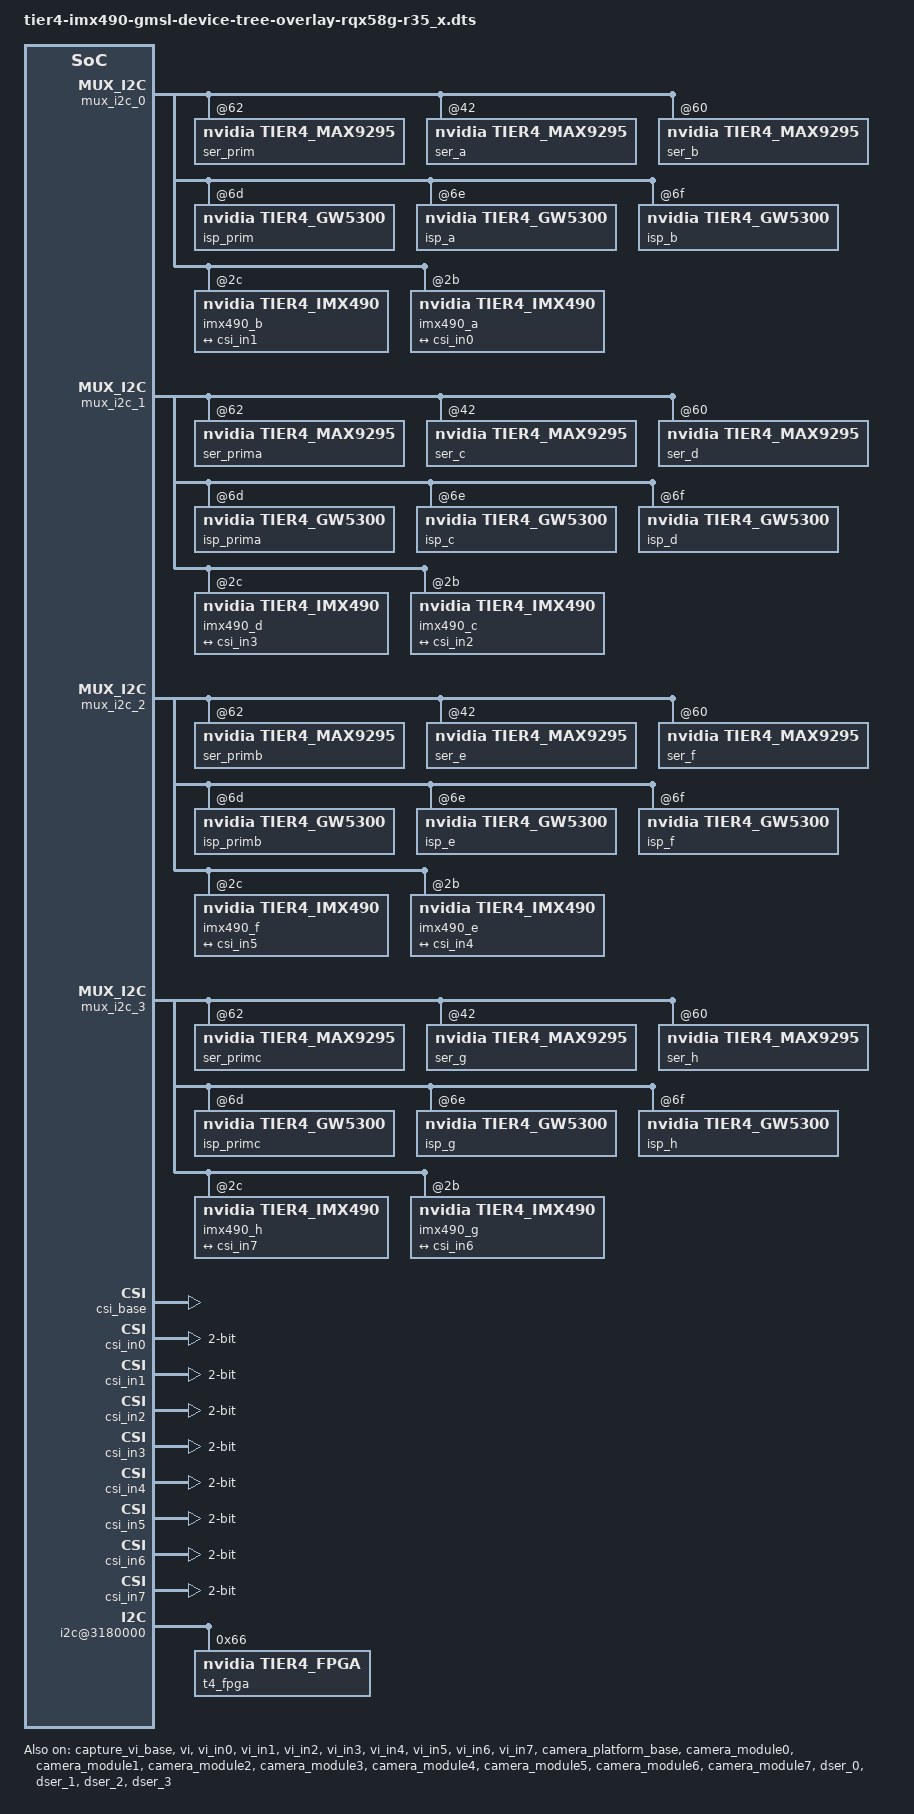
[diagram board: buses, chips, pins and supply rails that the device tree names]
/dts-v1/;
/plugin/;

/ {
    overlay-name = "TIERIV IMX490 GMSL2 Camera Device Tree Overlay";
    compatible = "nvidia,p2822-0000+p2888-0001";
    jetson-header-name = "Jetson AGX CSI Connector";

    fragment@0 {
        target = <&mux_i2c_0>;
        __overlay__ {
            i2c-mux,deselect-on-exit;
            #address-cells = <1>;
            #size-cells = <0>;

            ser_prim: max9295_prim@62 { 
                status = "okay";
                compatible = "nvidia,tier4_max9295";
                reg = <0x62>;
                is-prim-ser;
            };
            ser_a: max9295_a@42 {
                status = "okay";
                compatible = "nvidia,tier4_max9295";
                reg = <0x42>;
                nvidia,gmsl-dser-device = <&dser_0>;
                prim-parent = <&ser_prim>;
            };
            ser_b: max9295_b@60 {
                status = "okay";
                compatible = "nvidia,tier4_max9295";
                reg = <0x60>;
                nvidia,gmsl-dser-device = <&dser_0>;
                prim-parent = <&ser_prim>;
            };
            isp_prim: gw5300_prim@6d {
                compatible = "nvidia,tier4_gw5300";
                reg = <0x6d>;
                is-prim-isp;
            };
            isp_a: gw5300_a@6e {
                compatible = "nvidia,tier4_gw5300";
                reg = <0x6e>;
            };
            isp_b: gw5300_b@6f {
                compatible = "nvidia,tier4_gw5300";
                reg = <0x6f>;
            };

            imx490_b@2c {
                status = "okay";
                def-addr = <0x1a>;
                /* Define any required hw resources needed by driver */
                /* ie. clocks, io pins, power sources */
            //  clocks = <&bpmp_clks TEGRA194_CLK_EXTPERIPH1>,
            //           <&bpmp_clks TEGRA194_CLK_EXTPERIPH1>;
                clock-names = "extperiph1", "pllp_grtba";
                mclk = "extperiph1";
                nvidia,gmsl-ser-device = <&isp_b>;
                nvidia,gmsl-dser-device = <&dser_0>;
                nvidia,fpga-device  = <&t4_fpga>;

                compatible = "nvidia,tier4_imx490";

                reg = <0x2c>;

                /* Physical dimensions of sensor */
                physical_w = "15.0";
                physical_h = "12.5";
                reg_mux = <0>;
                sensor_model ="imx490";

                fsync-mode = "false";

                distortion-correction = "false";

                auto-exposure = "true";

                /* Defines number of frames to be dropped by driver internally after applying */
                /* sensor crop settings. Some sensors send corrupt frames after applying */
                /* crop co-ordinates */
                post_crop_frame_drop = "0";

                /* Convert Gain to unit of dB (decibel) befor passing to kernel driver */
                use_decibel_gain = "true";

                /* enable CID_SENSOR_MODE_ID for sensor modes selection */
                use_sensor_mode_id = "true";

                /**
                * A modeX node is required to support v4l2 driver
                * implementation with NVIDIA camera software stack
                *
                * mclk_khz = "";
                * Standard MIPI driving clock, typically 24MHz
                *
                * num_lanes = "";
                * Number of lane channels sensor is programmed to output
                *
                * tegra_sinterface = "";
                * The base tegra serial interface lanes are connected to
                *
                * vc_id = "";
                * The virtual channel id of the sensor.
                *
                * discontinuous_clk = "";
                * The sensor is programmed to use a discontinuous clock on MIPI lanes
                *
                * dpcm_enable = "true";
                * The sensor is programmed to use a DPCM modes
                *
                * cil_settletime = "";
                * MIPI lane settle time value.
                * A "0" value attempts to autocalibrate based on mclk_khz and pix_clk_hz
                *
                * active_w = "";
                * Pixel active region width
                *
                * active_h = "";
                * Pixel active region height
                *
                * dynamic_pixel_bit_depth = "";
                * sensor dynamic bit depth for sensor mode
                *
                * csi_pixel_bit_depth = "";
                * sensor output bit depth for sensor mode
                *
                * mode_type="";
                * Sensor mode type, For eg: yuv, Rgb, bayer, bayer_wdr_pwl
                *
                * pixel_phase="";
                * Pixel phase for sensor mode, For eg: rggb, vyuy, rgb888
                *
                * readout_orientation = "0";
                * Based on camera module orientation.
                * Only change readout_orientation if you specifically
                * Program a different readout order for this mode
                *
                * line_length = "";
                * Pixel line length (width) for sensor mode.
                * This is used to calibrate features in our camera stack.
                *
                * pix_clk_hz = "";
                * Sensor pixel clock used for calculations like exposure and framerate
                *
                *
                *
                *
                * inherent_gain = "";
                * Gain obtained inherently from mode (ie. pixel binning)
                *
                * min_gain_val = ""; (floor to 6 decimal places)
                * max_gain_val = ""; (floor to 6 decimal places)
                * Gain limits for mode
                * if use_decibel_gain = "true", please set the gain as decibel
                *
                * min_exp_time = ""; (ceil to integer)
                * max_exp_time = ""; (ceil to integer)
                * Exposure Time limits for mode (us)
                *
                *
                * min_hdr_ratio = "";
                * max_hdr_ratio = "";
                * HDR Ratio limits for mode
                *
                * min_framerate = "";
                * max_framerate = "";
                * Framerate limits for mode (fps)
                *
                * embedded_metadata_height = "";
                * Sensor embedded metadata height in units of rows.
                * If sensor does not support embedded metadata value should be 0.
                */
                mode0 {/*mode IMX490_MODE_2880X1860_CROP_30FPS*/
                    mclk_khz = "24000";
                    num_lanes = "2";
                    tegra_sinterface = "serial_a";
                    vc_id = "1";

                    discontinuous_clk = "no";
                    dpcm_enable = "false";
                    cil_settletime = "0";
                    dynamic_pixel_bit_depth = "16";
                    csi_pixel_bit_depth = "16";
                    mode_type = "yuv";
                    pixel_phase = "uyvy";

                    active_w = "2880";
                    active_h = "1860";
                    readout_orientation = "0";
                    line_length = "2250";
                    inherent_gain = "1";

                    pix_clk_hz = "160704000";
                    // MIPI CSI clock needs to be 1.5GHz to support deskew
                    // MIPI CSI output data rate = 1.5Gbps = (sensor or deserializer pixel clock in hertz) * (bits per pixel) / (number of CSI lanes)
                    // 1500000000 = serdes_pix_clk_hz * csi_pixel_bit_depth / num_lanes
                    // => serdes_pix_clk_hz = 1500000000 * num_lanes / csi_pixel_bit_depth
                    serdes_pix_clk_hz = "187500000";

                    gain_factor = "5";
                    min_gain_val = "0";                         /* dB */
                    max_gain_val = "300";                       /* dB */
                    step_gain_val = "1";                        /* 0.3 */
                    default_gain = "0";
                    min_hdr_ratio = "1";
                    max_hdr_ratio = "1";
                    framerate_factor = "1000000";
                    min_framerate = "0";
                    max_framerate = "40954095";
                    step_framerate = "1";
                    default_framerate = "0";
                    exposure_factor = "1000000";
                    min_exp_time = "0";                         /* us 1 line */
                    max_exp_time = "40954095";
                    step_exp_time = "1";
                    default_exp_time = "0";                 /* us */
                    embedded_metadata_height = "0";
                };

                ports {
                    #address-cells = <1>;
                    #size-cells = <0>;
                    port@0 {
                        reg = <0>;
                        imx490_out1: endpoint {
                            vc-id = <1>;
                            port-index = <0>;
                            bus-width = <2>;
                            remote-endpoint = <&csi_in1>;
                        };
                    };
                };

                gmsl-link {
                    src-csi-port = "b";
                    dst-csi-port = "a";
                    serdes-csi-link = "b";
                    csi-mode = "1x4";
                    st-vc = <0>;
                    vc-id = <1>;
                    num-lanes = <2>;
                    streams = "ued-u1","yuv8";
                };
            };

            imx490_a@2b {
                status = "okay";
                def-addr = <0x1a>;
                /* Define any required hw resources needed by driver */
                /* ie. clocks, io pins, power sources */
            //  clocks = <&bpmp_clks TEGRA194_CLK_EXTPERIPH1>,
            //          <&bpmp_clks TEGRA194_CLK_EXTPERIPH1>;
                clock-names = "extperiph1", "pllp_grtba";
                mclk = "extperiph1";
                nvidia,gmsl-ser-device  = <&isp_a>;
                nvidia,gmsl-dser-device = <&dser_0>;
                nvidia,fpga-device  = <&t4_fpga>;

                compatible = "nvidia,tier4_imx490";

                reg = <0x2b>;

                /* Physical dimensions of sensor */
                physical_w = "15.0";
                physical_h = "12.5";
                reg_mux = <0>;
                sensor_model ="imx490";

                fsync-mode = "false";

                distortion-correction = "false";

                auto-exposure = "true";

                /* Defines number of frames to be dropped by driver internally after applying */
                /* sensor crop settings. Some sensors send corrupt frames after applying */
                /* crop co-ordinates */
                post_crop_frame_drop = "0";

                /* Convert Gain to unit of dB (decibel) befor passing to kernel driver */
                use_decibel_gain = "true";

                /* enable CID_SENSOR_MODE_ID for sensor modes selection */
                use_sensor_mode_id = "true";

                mode0 {/*mode IMX490_MODE_2880X1860_CROP_30FPS*/
                    mclk_khz = "24000";
                    num_lanes = "2";
                    tegra_sinterface = "serial_a";
                    vc_id = "0";

                    discontinuous_clk = "no";
                    dpcm_enable = "false";
                    cil_settletime = "0";
                    dynamic_pixel_bit_depth = "16";
                    csi_pixel_bit_depth = "16";
                    mode_type = "yuv";
                    pixel_phase = "uyvy";

                    active_w = "2880";
                    active_h = "1860";
                    readout_orientation = "0";
                    line_length = "2250";
                    inherent_gain = "1";

                    pix_clk_hz = "160704000";
                    // MIPI CSI clock needs to be 1.5GHz to support deskew
                    // MIPI CSI output data rate = 1.5Gbps = (sensor or deserializer pixel clock in hertz) * (bits per pixel) / (number of CSI lanes)
                    // 1500000000 = serdes_pix_clk_hz * csi_pixel_bit_depth / num_lanes
                    // => serdes_pix_clk_hz = 1500000000 * num_lanes / csi_pixel_bit_depth
                    serdes_pix_clk_hz = "187500000";

                    gain_factor = "5";
                    min_gain_val = "0";                         /* dB */
                    max_gain_val = "300";                       /* dB */
                    step_gain_val = "1";                        /* 0.3 */
                    default_gain = "0";
                    min_hdr_ratio = "1";
                    max_hdr_ratio = "1";
                    framerate_factor = "1000000";
                    min_framerate = "0";
                    max_framerate = "40954095";
                    step_framerate = "1";
                    default_framerate = "0";
                    exposure_factor = "1000000";
                    min_exp_time = "0";                         /* us 1 line */
                    max_exp_time = "40954095";
                    step_exp_time = "1";
                    default_exp_time = "0";                 /* us */
                    embedded_metadata_height = "0";
                };
                ports {
                    #address-cells = <1>;
                    #size-cells = <0>;
                    port@0 {
                        reg = <0>;
                        imx490_out0: endpoint {
                            vc-id = <0>;
                            port-index = <0>;
                            bus-width = <2>;
                            remote-endpoint = <&csi_in0>;
                        };
                    };
                };
                gmsl-link {
                    src-csi-port = "b";     /* Port at which sensor is connected to its serializer device. */
                    dst-csi-port = "a";     /* Destination CSI port on the Jetson side, connected at deserializer. */
                    serdes-csi-link = "a";  /* GMSL link sensor/serializer connected */
                    csi-mode = "1x4";       /*  to sensor CSI mode. */
                    st-vc = <0>;            /* Sensor source default VC ID: 0 unless overridden by sensor. */
                    vc-id = <0>;            /* Destination VC ID, assigned to sensor stream by deserializer. */
                    num-lanes = <2>;        /* Number of CSI lanes used. */
                    streams = "ued-u1","yuv8"; /* Types of streams sensor is streaming. */
                };
            };
        };
    };

    fragment@1 {
      target = <&mux_i2c_1>;
      __overlay__ {
        i2c-mux,deselect-on-exit;
        #address-cells = <1>;
        #size-cells = <0>;

        ser_prima: max9295_prim@62 {
            compatible = "nvidia,tier4_max9295";
            reg = <0x62>;
            is-prim-ser;
        };
        ser_c: max9295_a@42 {
            compatible = "nvidia,tier4_max9295";
            reg = <0x42>;
            nvidia,gmsl-dser-device = <&dser_1>;
            prim-parent = <&ser_prima>;
        };
        ser_d: max9295_b@60 {
            compatible = "nvidia,tier4_max9295";
            reg = <0x60>;
            nvidia,gmsl-dser-device = <&dser_1>;
            prim-parent = <&ser_prima>;
        };
        isp_prima: gw5300_prim@6d {
            compatible = "nvidia,tier4_gw5300";
            reg = <0x6d>;
            is-prim-isp;
        };
        isp_c: gw5300_a@6e {
            compatible = "nvidia,tier4_gw5300";
            reg = <0x6e>;
        };
        isp_d: gw5300_b@6f {
            compatible = "nvidia,tier4_gw5300";
            reg = <0x6f>;
        };

        imx490_d@2c {
            status = "okay";
            def-addr = <0x1a>;
            /* Define any required hw resources needed by driver */
            /* ie. clocks, io pins, power sources */
        //  clocks = <&bpmp_clks TEGRA194_CLK_EXTPERIPH1>,
        //          <&bpmp_clks TEGRA194_CLK_EXTPERIPH1>;
            clock-names = "extperiph1", "pllp_grtba";
            mclk = "extperiph1";

            nvidia,gmsl-ser-device = <&isp_d>;
            nvidia,gmsl-dser-device = <&dser_1>;
            nvidia,fpga-device  = <&t4_fpga>;

            compatible = "nvidia,tier4_imx490";

            reg = <0x2c>;

            /* Physical dimensions of sensor */
            physical_w = "15.0";
            physical_h = "12.5";
            reg_mux = <1>;
            sensor_model ="imx490";

            fsync-mode = "false";

            distortion-correction = "false";

            auto-exposure = "true";

            /* Defines number of frames to be dropped by driver internally after applying */
            /* sensor crop settings. Some sensors send corrupt frames after applying */
            /* crop co-ordinates */
            post_crop_frame_drop = "0";

            /* Convert Gain to unit of dB (decibel) befor passing to kernel driver */
            use_decibel_gain = "true";

            /* enable CID_SENSOR_MODE_ID for sensor modes selection */
            use_sensor_mode_id = "true";

            /**
            * A modeX node is required to support v4l2 driver
            * implementation with NVIDIA camera software stack
            *
            * mclk_khz = "";
            * Standard MIPI driving clock, typically 24MHz
            *
            * num_lanes = "";
            * Number of lane channels sensor is programmed to output
            *
            * tegra_sinterface = "";
            * The base tegra serial interface lanes are connected to
            *
            * vc_id = "";
            * The virtual channel id of the sensor.
            *
            * discontinuous_clk = "";
            * The sensor is programmed to use a discontinuous clock on MIPI lanes
            *
            * dpcm_enable = "true";
            * The sensor is programmed to use a DPCM modes
            *
            * cil_settletime = "";
            * MIPI lane settle time value.
            * A "0" value attempts to autocalibrate based on mclk_khz and pix_clk_hz
            *
            * active_w = "";
            * Pixel active region width
            *
            * active_h = "";
            * Pixel active region height
            *
            * dynamic_pixel_bit_depth = "";
            * sensor dynamic bit depth for sensor mode
            *
            * csi_pixel_bit_depth = "";
            * sensor output bit depth for sensor mode
            *
            * mode_type="";
            * Sensor mode type, For eg: yuv, Rgb, bayer, bayer_wdr_pwl
            *
            * pixel_phase="";
            * Pixel phase for sensor mode, For eg: rggb, vyuy, rgb888
            *
            * readout_orientation = "0";
            * Based on camera module orientation.
            * Only change readout_orientation if you specifically
            * Program a different readout order for this mode
            *
            * line_length = "";
            * Pixel line length (width) for sensor mode.
            * This is used to calibrate features in our camera stack.
            *
            * pix_clk_hz = "";
            * Sensor pixel clock used for calculations like exposure and framerate
            *
            *
            *
            *
            * inherent_gain = "";
            * Gain obtained inherently from mode (ie. pixel binning)
            *
            * min_gain_val = ""; (floor to 6 decimal places)
            * max_gain_val = ""; (floor to 6 decimal places)
            * Gain limits for mode
            * if use_decibel_gain = "true", please set the gain as decibel
            *
            * min_exp_time = ""; (ceil to integer)
            * max_exp_time = ""; (ceil to integer)
            * Exposure Time limits for mode (us)
            *
            *
            * min_hdr_ratio = "";
            * max_hdr_ratio = "";
            * HDR Ratio limits for mode
            *
            * min_framerate = "";
            * max_framerate = "";
            * Framerate limits for mode (fps)
            *
            * embedded_metadata_height = "";
            * Sensor embedded metadata height in units of rows.
            * If sensor does not support embedded metadata value should be 0.
            */
            mode0 {/*mode IMX490_MODE_2880X1860_CROP_30FPS*/
                mclk_khz = "24000";
                num_lanes = "2";
                tegra_sinterface = "serial_c";
                vc_id = "1";

                discontinuous_clk = "no";
                dpcm_enable = "false";
                cil_settletime = "0";
                dynamic_pixel_bit_depth = "16";
                csi_pixel_bit_depth = "16";
                mode_type = "yuv";
                pixel_phase = "uyvy";
                active_w = "2880";
                active_h = "1860";
                readout_orientation = "0";
                line_length = "2250";
                inherent_gain = "1";

                pix_clk_hz = "160704000";
                // MIPI CSI clock needs to be 1.5GHz to support deskew
                // MIPI CSI output data rate = 1.5Gbps = (sensor or deserializer pixel clock in hertz) * (bits per pixel) / (number of CSI lanes)
                // 1500000000 = serdes_pix_clk_hz * csi_pixel_bit_depth / num_lanes
                // => serdes_pix_clk_hz = 1500000000 * num_lanes / csi_pixel_bit_depth
                serdes_pix_clk_hz = "187500000";

                gain_factor = "5";
                min_gain_val = "0";                         /* dB */
                max_gain_val = "300";                       /* dB */
                step_gain_val = "1";                        /* 0.3 */
                default_gain = "0";
                min_hdr_ratio = "1";
                max_hdr_ratio = "1";
                framerate_factor = "1000000";
                min_framerate = "0";
                max_framerate = "40954095";
                step_framerate = "1";
                default_framerate = "0";
                exposure_factor = "1000000";
                min_exp_time = "0";                         /* us 1 line */
                max_exp_time = "40954095";
                step_exp_time = "1";
                default_exp_time = "0";                 /* us */
                embedded_metadata_height = "0";
            };

            ports {
                #address-cells = <1>;
                #size-cells = <0>;
                port@0 {
                    reg = <0>;
                    imx490_out3: endpoint {
                        vc-id = <1>;
                        port-index = <2>;
                        bus-width = <2>;
                        remote-endpoint = <&csi_in3>;
                    };
                };
            };
            gmsl-link {
                src-csi-port = "b";
                dst-csi-port = "a";
                serdes-csi-link = "b";
                csi-mode = "1x4";
                st-vc = <0>;
                vc-id = <1>;
                num-lanes = <2>;
                streams = "ued-u1","yuv8";
            };
        };

        imx490_c@2b {
            status = "okay";
            def-addr = <0x1a>;

            /* Define any required hw resources needed by driver */
            /* ie. clocks, io pins, power sources */
        //  clocks = <&bpmp_clks TEGRA194_CLK_EXTPERIPH1>,
        //          <&bpmp_clks TEGRA194_CLK_EXTPERIPH1>;
            clock-names = "extperiph1", "pllp_grtba";
            mclk = "extperiph1";

            nvidia,gmsl-ser-device = <&isp_c>;
            nvidia,gmsl-dser-device = <&dser_1>;
            nvidia,fpga-device  = <&t4_fpga>;

            compatible = "nvidia,tier4_imx490";

            reg = <0x2b>;

            /* Physical dimensions of sensor */
            physical_w = "15.0";
            physical_h = "12.5";
            reg_mux = <1>;
            sensor_model ="imx490";

            fsync-mode = "false";

            distortion-correction = "false";

            auto-exposure = "true";

            /* Defines number of frames to be dropped by driver internally after applying */
            /* sensor crop settings. Some sensors send corrupt frames after applying */
            /* crop co-ordinates */
            post_crop_frame_drop = "0";

            /* Convert Gain to unit of dB (decibel) befor passing to kernel driver */
            use_decibel_gain = "true";

            /* enable CID_SENSOR_MODE_ID for sensor modes selection */
            use_sensor_mode_id = "true";

            /**
            * A modeX node is required to support v4l2 driver
            * implementation with NVIDIA camera software stack
            *
            * mclk_khz = "";
            * Standard MIPI driving clock, typically 24MHz
            *
            * num_lanes = "";
            * Number of lane channels sensor is programmed to output
            *
            * tegra_sinterface = "";
            * The base tegra serial interface lanes are connected to
            *
            * vc_id = "";
            * The virtual channel id of the sensor.
            *
            * discontinuous_clk = "";
            * The sensor is programmed to use a discontinuous clock on MIPI lanes
            *
            * dpcm_enable = "true";
            * The sensor is programmed to use a DPCM modes
            *
            * cil_settletime = "";
            * MIPI lane settle time value.
            * A "0" value attempts to autocalibrate based on mclk_khz and pix_clk_hz
            *
            * active_w = "";
            * Pixel active region width
            *
            * active_h = "";
            * Pixel active region height
            *
            * dynamic_pixel_bit_depth = "";
            * sensor dynamic bit depth for sensor mode
            *
            * csi_pixel_bit_depth = "";
            * sensor output bit depth for sensor mode
            *
            * mode_type="";
            * Sensor mode type, For eg: yuv, Rgb, bayer, bayer_wdr_pwl
            *
            * pixel_phase="";
            * Pixel phase for sensor mode, For eg: rggb, vyuy, rgb888
            *
            * readout_orientation = "0";
            * Based on camera module orientation.
            * Only change readout_orientation if you specifically
            * Program a different readout order for this mode
            *
            * line_length = "";
            * Pixel line length (width) for sensor mode.
            * This is used to calibrate features in our camera stack.
            *
            * pix_clk_hz = "";
            * Sensor pixel clock used for calculations like exposure and framerate
            *
            *
            *
            *
            * inherent_gain = "";
            * Gain obtained inherently from mode (ie. pixel binning)
            *
            * min_gain_val = ""; (floor to 6 decimal places)
            * max_gain_val = ""; (floor to 6 decimal places)
            * Gain limits for mode
            * if use_decibel_gain = "true", please set the gain as decibel
            *
            * min_exp_time = ""; (ceil to integer)
            * max_exp_time = ""; (ceil to integer)
            * Exposure Time limits for mode (us)
            *
            *
            * min_hdr_ratio = "";
            * max_hdr_ratio = "";
            * HDR Ratio limits for mode
            *
            * min_framerate = "";
            * max_framerate = "";
            * Framerate limits for mode (fps)
            *
            * embedded_metadata_height = "";
            * Sensor embedded metadata height in units of rows.
            * If sensor does not support embedded metadata value should be 0.
            */
            mode0 {/*mode IMX490_MODE_2880X1860_CROP_30FPS*/
                mclk_khz = "24000";
                num_lanes = "2";
                tegra_sinterface = "serial_c";
                vc_id = "0";

                discontinuous_clk = "no";
                dpcm_enable = "false";
                cil_settletime = "0";
                dynamic_pixel_bit_depth = "16";
                csi_pixel_bit_depth = "16";
                mode_type = "yuv";
                pixel_phase = "uyvy";
                active_w = "2880";
                active_h = "1860";
                readout_orientation = "0";
                line_length = "2250";
                inherent_gain = "1";

                pix_clk_hz = "160704000";
                // MIPI CSI clock needs to be 1.5GHz to support deskew
                // MIPI CSI output data rate = 1.5Gbps = (sensor or deserializer pixel clock in hertz) * (bits per pixel) / (number of CSI lanes)
                // 1500000000 = serdes_pix_clk_hz * csi_pixel_bit_depth / num_lanes
                // => serdes_pix_clk_hz = 1500000000 * num_lanes / csi_pixel_bit_depth
                serdes_pix_clk_hz = "187500000";

                gain_factor = "5";
                min_gain_val = "0";                         /* dB */
                max_gain_val = "300";                       /* dB */
                step_gain_val = "1";                        /* 0.3 */
                default_gain = "0";
                min_hdr_ratio = "1";
                max_hdr_ratio = "1";
                framerate_factor = "1000000";
                min_framerate = "0";
                max_framerate = "40954095";
                step_framerate = "1";
                default_framerate = "0";
                exposure_factor = "1000000";
                min_exp_time = "0";                         /* us 1 line */
                max_exp_time = "40954095";
                step_exp_time = "1";
                default_exp_time = "0";                 /* us */
                embedded_metadata_height = "0";
            };

            ports {
                #address-cells = <1>;
                #size-cells = <0>;
                port@0 {
                    reg = <0>;
                    imx490_out2: endpoint {
                        vc-id = <0>;
                        port-index = <2>;
                        bus-width = <2>;
                        remote-endpoint = <&csi_in2>;
                    };
                };
            };
            gmsl-link {
                src-csi-port = "b";             /* Port at which sensor  is connected to its serializer device. */
                dst-csi-port = "a";             /* Destination CSI port on the Jetson side, connected at deserializer. */
                serdes-csi-link = "a";          /* GMSL link sensor/serializer connected */
                csi-mode = "1x4";               /*  to sensor CSI mode. */
                st-vc = <0>;                    /* Sensor source default VC ID: 0 unless overridden by sensor. */
                vc-id = <0>;                    /* Destination VC ID, assigned to sensor stream by deserializer. */
                num-lanes = <2>;                /* Number of CSI lanes used. */
                streams = "ued-u1","yuv8";      /* Types of streams sensor is streaming. */
            };
        };
      };
    };

    fragment@2 {
      target = <&mux_i2c_2>;
      __overlay__ {
        i2c-mux,deselect-on-exit;
        #address-cells = <1>;
        #size-cells = <0>;

        ser_primb: max9295_prim@62 {
            compatible = "nvidia,tier4_max9295";
            reg = <0x62>;
            is-prim-ser;
        };
        ser_e: max9295_a@42 {
            compatible = "nvidia,tier4_max9295";
            reg = <0x42>;
            nvidia,gmsl-dser-device = <&dser_2>;
            prim-parent = <&ser_primb>;
        };
        ser_f: max9295_b@60 {
            compatible = "nvidia,tier4_max9295";
            reg = <0x60>;
            nvidia,gmsl-dser-device = <&dser_2>;
            prim-parent = <&ser_primb>;
        };
        isp_primb: gw5300_prim@6d {
            compatible = "nvidia,tier4_gw5300";
            reg = <0x6d>;
            is-prim-isp;
        };
        isp_e: gw5300_a@6e {
            compatible = "nvidia,tier4_gw5300";
            reg = <0x6e>;
        };
        isp_f: gw5300_b@6f {
            compatible = "nvidia,tier4_gw5300";
            reg = <0x6f>;
        };

        imx490_f@2c {
            status = "okay";
            def-addr = <0x1a>;

            /* Define any required hw resources needed by driver */
            /* ie. clocks, io pins, power sources */
        //  clocks = <&bpmp_clks TEGRA194_CLK_EXTPERIPH1>,
        //          <&bpmp_clks TEGRA194_CLK_EXTPERIPH1>;
            clock-names = "extperiph1", "pllp_grtba";
            mclk = "extperiph1";

            nvidia,gmsl-ser-device = <&isp_f>;
            nvidia,gmsl-dser-device = <&dser_2>;
            nvidia,fpga-device  = <&t4_fpga>;

            compatible = "nvidia,tier4_imx490";

            reg = <0x2c>;

            /* Physical dimensions of sensor */
            physical_w = "15.0";
            physical_h = "12.5";
            reg_mux = <2>;
            sensor_model ="imx490";

            fsync-mode = "false";

            distortion-correction = "false";

            auto-exposure = "true";

            /* Defines number of frames to be dropped by driver internally after applying */
            /* sensor crop settings. Some sensors send corrupt frames after applying */
            /* crop co-ordinates */
            post_crop_frame_drop = "0";

            /* Convert Gain to unit of dB (decibel) befor passing to kernel driver */
            use_decibel_gain = "true";

            /* enable CID_SENSOR_MODE_ID for sensor modes selection */
            use_sensor_mode_id = "true";

            /**
            * A modeX node is required to support v4l2 driver
            * implementation with NVIDIA camera software stack
            *
            * mclk_khz = "";
            * Standard MIPI driving clock, typically 24MHz
            *
            * num_lanes = "";
            * Number of lane channels sensor is programmed to output
            *
            * tegra_sinterface = "";
            * The base tegra serial interface lanes are connected to
            *
            * vc_id = "";
            * The virtual channel id of the sensor.
            *
            * discontinuous_clk = "";
            * The sensor is programmed to use a discontinuous clock on MIPI lanes
            *
            * dpcm_enable = "true";
            * The sensor is programmed to use a DPCM modes
            *
            * cil_settletime = "";
            * MIPI lane settle time value.
            * A "0" value attempts to autocalibrate based on mclk_khz and pix_clk_hz
            *
            * active_w = "";
            * Pixel active region width
            *
            * active_h = "";
            * Pixel active region height
            *
            * dynamic_pixel_bit_depth = "";
            * sensor dynamic bit depth for sensor mode
            *
            * csi_pixel_bit_depth = "";
            * sensor output bit depth for sensor mode
            *
            * mode_type="";
            * Sensor mode type, For eg: yuv, Rgb, bayer, bayer_wdr_pwl
            *
            * pixel_phase="";
            * Pixel phase for sensor mode, For eg: rggb, vyuy, rgb888
            *
            * readout_orientation = "0";
            * Based on camera module orientation.
            * Only change readout_orientation if you specifically
            * Program a different readout order for this mode
            *
            * line_length = "";
            * Pixel line length (width) for sensor mode.
            * This is used to calibrate features in our camera stack.
            *
            * pix_clk_hz = "";
            * Sensor pixel clock used for calculations like exposure and framerate
            *
            *
            *
            *
            * inherent_gain = "";
            * Gain obtained inherently from mode (ie. pixel binning)
            *
            * min_gain_val = ""; (floor to 6 decimal places)
            * max_gain_val = ""; (floor to 6 decimal places)
            * Gain limits for mode
            * if use_decibel_gain = "true", please set the gain as decibel
            *
            * min_exp_time = ""; (ceil to integer)
            * max_exp_time = ""; (ceil to integer)
            * Exposure Time limits for mode (us)
            *
            *
            * min_hdr_ratio = "";
            * max_hdr_ratio = "";
            * HDR Ratio limits for mode
            *
            * min_framerate = "";
            * max_framerate = "";
            * Framerate limits for mode (fps)
            *
            * embedded_metadata_height = "";
            * Sensor embedded metadata height in units of rows.
            * If sensor does not support embedded metadata value should be 0.
            */

             mode0 {/*mode IMX490_MODE_2880X1860_CROP_30FPS*/
                     mclk_khz = "24000";
                     num_lanes = "2";
                     tegra_sinterface = "serial_e";
                     vc_id = "1";

                     discontinuous_clk = "no";
                     dpcm_enable = "false";
                     cil_settletime = "0";
                     dynamic_pixel_bit_depth = "16";
                     csi_pixel_bit_depth = "16";
                     mode_type = "yuv";
                     pixel_phase = "uyvy";
                     active_w = "2880";
                     active_h = "1860";
                     readout_orientation = "0";
                     line_length = "2250";
                     inherent_gain = "1";

                     pix_clk_hz = "160704000";
                     // MIPI CSI clock needs to be 1.5GHz to support deskew
                    // MIPI CSI output data rate = 1.5Gbps = (sensor or deserializer pixel clock in hertz) * (bits per pixel) / (number of CSI lanes)
                    // 1500000000 = serdes_pix_clk_hz * csi_pixel_bit_depth / num_lanes
                    // => serdes_pix_clk_hz = 1500000000 * num_lanes / csi_pixel_bit_depth
                    serdes_pix_clk_hz = "187500000";

                     gain_factor = "5";
                     min_gain_val = "0";                         /* dB */
                     max_gain_val = "300";                       /* dB */
                     step_gain_val = "1";                        /* 0.3 */
                     default_gain = "0";
                     min_hdr_ratio = "1";
                     max_hdr_ratio = "1";
                     framerate_factor = "1000000";
                     min_framerate = "0";
                     max_framerate = "40954095";
                     step_framerate = "1";
                     default_framerate = "0";
                     exposure_factor = "1000000";
                     min_exp_time = "0";                         /* us 1 line */
                     max_exp_time = "40954095";
                     step_exp_time = "1";
                     default_exp_time = "0";                 /* us */
                     embedded_metadata_height = "0";
                 };
            ports {
                #address-cells = <1>;
                #size-cells = <0>;
                port@0 {
                    reg = <0>;
                    imx490_out5: endpoint {
                        vc-id = <1>;
                        port-index = <4>;
                        bus-width = <2>;
                        remote-endpoint = <&csi_in5>;
                    };
                };
            };
            gmsl-link {
                src-csi-port = "b";
                dst-csi-port = "a";
                serdes-csi-link = "b";
                csi-mode = "1x4";
                st-vc = <0>;
                vc-id = <1>;
                num-lanes = <2>;
                streams = "ued-u1","yuv8";
            };
        };

        imx490_e@2b {
            status = "okay";
            def-addr = <0x1a>;

            /* Define any required hw resources needed by driver */
            /* ie. clocks, io pins, power sources */
        //  clocks = <&bpmp_clks TEGRA194_CLK_EXTPERIPH1>,
        //          <&bpmp_clks TEGRA194_CLK_EXTPERIPH1>;
            clock-names = "extperiph1", "pllp_grtba";
            mclk = "extperiph1";

            nvidia,gmsl-ser-device = <&isp_e>;
            nvidia,gmsl-dser-device = <&dser_2>;
            nvidia,fpga-device  = <&t4_fpga>;

            compatible = "nvidia,tier4_imx490";

            reg = <0x2b>;

            /* Physical dimensions of sensor */
            physical_w = "15.0";
            physical_h = "12.5";
            reg_mux = <2>;
            sensor_model ="imx490";

            fsync-mode = "false";

            distortion-correction = "false";

            auto-exposure = "true";

            /* Defines number of frames to be dropped by driver internally after applying */
            /* sensor crop settings. Some sensors send corrupt frames after applying */
            /* crop co-ordinates */
            post_crop_frame_drop = "0";

            /* Convert Gain to unit of dB (decibel) befor passing to kernel driver */
            use_decibel_gain = "true";

            /* enable CID_SENSOR_MODE_ID for sensor modes selection */
            use_sensor_mode_id = "true";

            /**
            * A modeX node is required to support v4l2 driver
            * implementation with NVIDIA camera software stack
            *
            * mclk_khz = "";
            * Standard MIPI driving clock, typically 24MHz
            *
            * num_lanes = "";
            * Number of lane channels sensor is programmed to output
            *
            * tegra_sinterface = "";
            * The base tegra serial interface lanes are connected to
            *
            * vc_id = "";
            * The virtual channel id of the sensor.
            *
            * discontinuous_clk = "";
            * The sensor is programmed to use a discontinuous clock on MIPI lanes
            *
            * dpcm_enable = "true";
            * The sensor is programmed to use a DPCM modes
            *
            * cil_settletime = "";
            * MIPI lane settle time value.
            * A "0" value attempts to autocalibrate based on mclk_khz and pix_clk_hz
            *
            * active_w = "";
            * Pixel active region width
            *
            * active_h = "";
            * Pixel active region height
            *
            * dynamic_pixel_bit_depth = "";
            * sensor dynamic bit depth for sensor mode
            *
            * csi_pixel_bit_depth = "";
            * sensor output bit depth for sensor mode
            *
            * mode_type="";
            * Sensor mode type, For eg: yuv, Rgb, bayer, bayer_wdr_pwl
            *
            * pixel_phase="";
            * Pixel phase for sensor mode, For eg: rggb, vyuy, rgb888
            *
            * readout_orientation = "0";
            * Based on camera module orientation.
            * Only change readout_orientation if you specifically
            * Program a different readout order for this mode
            *
            * line_length = "";
            * Pixel line length (width) for sensor mode.
            * This is used to calibrate features in our camera stack.
            *
            * pix_clk_hz = "";
            * Sensor pixel clock used for calculations like exposure and framerate
            *
            *
            *
            *
            * inherent_gain = "";
            * Gain obtained inherently from mode (ie. pixel binning)
            *
            * min_gain_val = ""; (floor to 6 decimal places)
            * max_gain_val = ""; (floor to 6 decimal places)
            * Gain limits for mode
            * if use_decibel_gain = "true", please set the gain as decibel
            *
            * min_exp_time = ""; (ceil to integer)
            * max_exp_time = ""; (ceil to integer)
            * Exposure Time limits for mode (us)
            *
            *
            * min_hdr_ratio = "";
            * max_hdr_ratio = "";
            * HDR Ratio limits for mode
            *
            * min_framerate = "";
            * max_framerate = "";
            * Framerate limits for mode (fps)
            *
            * embedded_metadata_height = "";
            * Sensor embedded metadata height in units of rows.
            * If sensor does not support embedded metadata value should be 0.
            */

            mode0 {/*mode IMX490_MODE_2880X1860_CROP_30FPS*/
                     mclk_khz = "24000";
                     num_lanes = "2";
                     tegra_sinterface = "serial_e";
                     vc_id = "0";
                     
                     discontinuous_clk = "no";
                     dpcm_enable = "false";
                     cil_settletime = "0";
                     dynamic_pixel_bit_depth = "16";
                     csi_pixel_bit_depth = "16";
                     mode_type = "yuv";
                     pixel_phase = "uyvy";
                     active_w = "2880";
                     active_h = "1860";
                     readout_orientation = "0";
                     line_length = "2250";
                     inherent_gain = "1";

                     pix_clk_hz = "160704000";
                     // MIPI CSI clock needs to be 1.5GHz to support deskew
                     // MIPI CSI output data rate = 1.5Gbps = (sensor or deserializer pixel clock in hertz) * (bits per pixel) / (number of CSI lanes)
                     // 1500000000 = serdes_pix_clk_hz * csi_pixel_bit_depth / num_lanes
                     // => serdes_pix_clk_hz = 1500000000 * num_lanes / csi_pixel_bit_depth
                     serdes_pix_clk_hz = "187500000";

                     gain_factor = "5";
                     min_gain_val = "0";                         /* dB */
                     max_gain_val = "300";                       /* dB */
                     step_gain_val = "1";                        /* 0.3 */
                     default_gain = "0";
                     min_hdr_ratio = "1";
                     max_hdr_ratio = "1";
                     framerate_factor = "1000000";
                     min_framerate = "0";
                     max_framerate = "40954095";
                     step_framerate = "1";
                     default_framerate = "0";
                     exposure_factor = "1000000";
                     min_exp_time = "0";                         /* us 1 line */
                     max_exp_time = "40954095";
                     step_exp_time = "1";
                     default_exp_time = "0";                 /* us */
                     embedded_metadata_height = "0";
                 };

            ports {
                #address-cells = <1>;
                #size-cells = <0>;
                port@0 {
                    reg = <0>;
                    imx490_out4: endpoint {
                        vc-id = <0>;
                        port-index = <4>;
                        bus-width = <2>;
                        remote-endpoint = <&csi_in4>;
                    };
                };
            };
            gmsl-link {
                src-csi-port = "b";
                dst-csi-port = "a";
                serdes-csi-link = "a";
                csi-mode = "1x4";
                st-vc = <0>;
                vc-id = <0>;
                num-lanes = <2>;
                streams = "ued-u1","yuv8";
            };
        };
      };
    };

    fragment@3 {
      target = <&mux_i2c_3>;
      __overlay__ {
        i2c-mux,deselect-on-exit;
        #address-cells = <1>;
        #size-cells = <0>;

        ser_primc: max9295_prim@62 {
            compatible = "nvidia,tier4_max9295";
            reg = <0x62>;
            is-prim-ser;
        };
        ser_g: max9295_a@42 {
            compatible = "nvidia,tier4_max9295";
            reg = <0x42>;
            nvidia,gmsl-dser-device = <&dser_3>;
            prim-parent = <&ser_primc>;
        };
        ser_h: max9295_b@60 {
            compatible = "nvidia,tier4_max9295";
            reg = <0x60>;
            nvidia,gmsl-dser-device = <&dser_3>;
            prim-parent = <&ser_primc>;
        };
        isp_primc: gw5300_prim@6d {
            compatible = "nvidia,tier4_gw5300";
            reg = <0x6d>;
            is-prim-isp;
        };
        isp_g: gw5300_a@6e {
            compatible = "nvidia,tier4_gw5300";
            reg = <0x6e>;
        };
        isp_h: gw5300_b@6f {
            compatible = "nvidia,tier4_gw5300";
            reg = <0x6f>;
        };

        imx490_h@2c {
            status = "okay";
            def-addr = <0x1a>;

            /* Define any required hw resources needed by driver */
            /* ie. clocks, io pins, power sources */
        //  clocks = <&bpmp_clks TEGRA194_CLK_EXTPERIPH1>,
        //          <&bpmp_clks TEGRA194_CLK_EXTPERIPH1>;
            clock-names = "extperiph1", "pllp_grtba";
            mclk = "extperiph1";

            nvidia,gmsl-ser-device = <&isp_h>;
            nvidia,gmsl-dser-device = <&dser_3>;
            nvidia,fpga-device  = <&t4_fpga>;

            compatible = "nvidia,tier4_imx490";

            reg = <0x2c>;

            /* Physical dimensions of sensor */
            physical_w = "15.0";
            physical_h = "12.5";
            reg_mux = <3>;
            sensor_model ="imx490";

            fsync-mode = "false";

            distortion-correction = "false";

            auto-exposure = "true";

            /* Defines number of frames to be dropped by driver internally after applying */
            /* sensor crop settings. Some sensors send corrupt frames after applying */
            /* crop co-ordinates */
            post_crop_frame_drop = "0";

            /* Convert Gain to unit of dB (decibel) befor passing to kernel driver */
            use_decibel_gain = "true";

            /* enable CID_SENSOR_MODE_ID for sensor modes selection */
            use_sensor_mode_id = "true";

            /**
            * A modeX node is required to support v4l2 driver
            * implementation with NVIDIA camera software stack
            *
            * mclk_khz = "";
            * Standard MIPI driving clock, typically 24MHz
            *
            * num_lanes = "";
            * Number of lane channels sensor is programmed to output
            *
            * tegra_sinterface = "";
            * The base tegra serial interface lanes are connected to
            *
            * vc_id = "";
            * The virtual channel id of the sensor.
            *
            * discontinuous_clk = "";
            * The sensor is programmed to use a discontinuous clock on MIPI lanes
            *
            * dpcm_enable = "true";
            * The sensor is programmed to use a DPCM modes
            *
            * cil_settletime = "";
            * MIPI lane settle time value.
            * A "0" value attempts to autocalibrate based on mclk_khz and pix_clk_hz
            *
            * active_w = "";
            * Pixel active region width
            *
            * active_h = "";
            * Pixel active region height
            *
            * dynamic_pixel_bit_depth = "";
            * sensor dynamic bit depth for sensor mode
            *
            * csi_pixel_bit_depth = "";
            * sensor output bit depth for sensor mode
            *
            * mode_type="";
            * Sensor mode type, For eg: yuv, Rgb, bayer, bayer_wdr_pwl
            *
            * pixel_phase="";
            * Pixel phase for sensor mode, For eg: rggb, vyuy, rgb888
            *
            * readout_orientation = "0";
            * Based on camera module orientation.
            * Only change readout_orientation if you specifically
            * Program a different readout order for this mode
            *
            * line_length = "";
            * Pixel line length (width) for sensor mode.
            * This is used to calibrate features in our camera stack.
            *
            * pix_clk_hz = "";
            * Sensor pixel clock used for calculations like exposure and framerate
            *
            *
            *
            *
            * inherent_gain = "";
            * Gain obtained inherently from mode (ie. pixel binning)
            *
            * min_gain_val = ""; (floor to 6 decimal places)
            * max_gain_val = ""; (floor to 6 decimal places)
            * Gain limits for mode
            * if use_decibel_gain = "true", please set the gain as decibel
            *
            * min_exp_time = ""; (ceil to integer)
            * max_exp_time = ""; (ceil to integer)
            * Exposure Time limits for mode (us)
            *
            *
            * min_hdr_ratio = "";
            * max_hdr_ratio = "";
            * HDR Ratio limits for mode
            *
            * min_framerate = "";
            * max_framerate = "";
            * Framerate limits for mode (fps)
            *
            * embedded_metadata_height = "";
            * Sensor embedded metadata height in units of rows.
            * If sensor does not support embedded metadata value should be 0.
            */

            mode0 {/*mode IMX490_MODE_2880X1860_CROP_30FPS*/
                mclk_khz = "24000";
                num_lanes = "2";
                tegra_sinterface = "serial_g";
                vc_id = "1";

                discontinuous_clk = "no";
                dpcm_enable = "false";
                cil_settletime = "0";
                dynamic_pixel_bit_depth = "16";
                csi_pixel_bit_depth = "16";
                mode_type = "yuv";
                pixel_phase = "uyvy";
                active_w = "2880";
                active_h = "1860";
                readout_orientation = "0";
                line_length = "2250";
                inherent_gain = "1";

                pix_clk_hz = "160704000";
                // MIPI CSI clock needs to be 1.5GHz to support deskew
                // MIPI CSI output data rate = 1.5Gbps = (sensor or deserializer pixel clock in hertz) * (bits per pixel) / (number of CSI lanes)
                // 1500000000 = serdes_pix_clk_hz * csi_pixel_bit_depth / num_lanes
                // => serdes_pix_clk_hz = 1500000000 * num_lanes / csi_pixel_bit_depth
                serdes_pix_clk_hz = "187500000";

                gain_factor = "5";
                min_gain_val = "0";                         /* dB */
                max_gain_val = "300";                       /* dB */
                step_gain_val = "1";                        /* 0.3 */
                default_gain = "0";
                min_hdr_ratio = "1";
                max_hdr_ratio = "1";
                framerate_factor = "1000000";
                min_framerate = "0";
                max_framerate = "40954095";
                step_framerate = "1";
                default_framerate = "0";
                exposure_factor = "1000000";
                min_exp_time = "0";                         /* us 1 line */
                max_exp_time = "40954095";
                step_exp_time = "1";
                default_exp_time = "0";                 /* us */
                embedded_metadata_height = "0";
            };

            ports {
                #address-cells = <1>;
                #size-cells = <0>;
                port@0 {
                    reg = <0>;
                    imx490_out7: endpoint {
                        vc-id = <1>;
                        port-index = <6>;
                        bus-width = <2>;
                        remote-endpoint = <&csi_in7>;
                    };
                };
            };
            gmsl-link {
                src-csi-port = "b";
                dst-csi-port = "a";
                serdes-csi-link = "b";
                csi-mode = "1x4";
                st-vc = <0>;
                vc-id = <1>;
                num-lanes = <2>;
                streams = "ued-u1","yuv8";
            };
        };

        imx490_g@2b {
            status = "okay";
            def-addr = <0x1a>;

            /* Define any required hw resources needed by driver */
            /* ie. clocks, io pins, power sources */
        //  clocks = <&bpmp_clks TEGRA194_CLK_EXTPERIPH1>,
        //          <&bpmp_clks TEGRA194_CLK_EXTPERIPH1>;
            clock-names = "extperiph1", "pllp_grtba";
            mclk = "extperiph1";

            nvidia,gmsl-ser-device = <&isp_g>;
            nvidia,gmsl-dser-device = <&dser_3>;
            nvidia,fpga-device  = <&t4_fpga>;

            compatible = "nvidia,tier4_imx490";

            reg = <0x2b>;

            /* Physical dimensions of sensor */
            physical_w = "15.0";
            physical_h = "12.5";
            reg_mux = <3>;
            sensor_model ="imx490";

            fsync-mode = "false";

            distortion-correction = "false";

            auto-exposure = "true";

            /* Defines number of frames to be dropped by driver internally after applying */
            /* sensor crop settings. Some sensors send corrupt frames after applying */
            /* crop co-ordinates */
            post_crop_frame_drop = "0";

            /* Convert Gain to unit of dB (decibel) befor passing to kernel driver */
            use_decibel_gain = "true";

            /* enable CID_SENSOR_MODE_ID for sensor modes selection */
            use_sensor_mode_id = "true";

            /**
            * A modeX node is required to support v4l2 driver
            * implementation with NVIDIA camera software stack
            *
            * mclk_khz = "";
            * Standard MIPI driving clock, typically 24MHz
            *
            * num_lanes = "";
            * Number of lane channels sensor is programmed to output
            *
            * tegra_sinterface = "";
            * The base tegra serial interface lanes are connected to
            *
            * vc_id = "";
            * The virtual channel id of the sensor.
            *
            * discontinuous_clk = "";
            * The sensor is programmed to use a discontinuous clock on MIPI lanes
            *
            * dpcm_enable = "true";
            * The sensor is programmed to use a DPCM modes
            *
            * cil_settletime = "";
            * MIPI lane settle time value.
            * A "0" value attempts to autocalibrate based on mclk_khz and pix_clk_hz
            *
            * active_w = "";
            * Pixel active region width
            *
            * active_h = "";
            * Pixel active region height
            *
            * dynamic_pixel_bit_depth = "";
            * sensor dynamic bit depth for sensor mode
            *
            * csi_pixel_bit_depth = "";
            * sensor output bit depth for sensor mode
            *
            * mode_type="";
            * Sensor mode type, For eg: yuv, Rgb, bayer, bayer_wdr_pwl
            *
            * pixel_phase="";
            * Pixel phase for sensor mode, For eg: rggb, vyuy, rgb888
            *
            * readout_orientation = "0";
            * Based on camera module orientation.
            * Only change readout_orientation if you specifically
            * Program a different readout order for this mode
            *
            * line_length = "";
            * Pixel line length (width) for sensor mode.
            * This is used to calibrate features in our camera stack.
            *
            * pix_clk_hz = "";
            * Sensor pixel clock used for calculations like exposure and framerate
            *
            *
            *
            *
            * inherent_gain = "";
            * Gain obtained inherently from mode (ie. pixel binning)
            *
            * min_gain_val = ""; (floor to 6 decimal places)
            * max_gain_val = ""; (floor to 6 decimal places)
            * Gain limits for mode
            * if use_decibel_gain = "true", please set the gain as decibel
            *
            * min_exp_time = ""; (ceil to integer)
            * max_exp_time = ""; (ceil to integer)
            * Exposure Time limits for mode (us)
            *
            *
            * min_hdr_ratio = "";
            * max_hdr_ratio = "";
            * HDR Ratio limits for mode
            *
            * min_framerate = "";
            * max_framerate = "";
            * Framerate limits for mode (fps)
            *
            * embedded_metadata_height = "";
            * Sensor embedded metadata height in units of rows.
            * If sensor does not support embedded metadata value should be 0.
            */

            mode0 {/*mode IMX490_MODE_2880X1860_CROP_30FPS*/
                mclk_khz = "24000";
                num_lanes = "2";
                tegra_sinterface = "serial_g";
                vc_id = "0";

                discontinuous_clk = "no";
                dpcm_enable = "false";
                cil_settletime = "0";
                dynamic_pixel_bit_depth = "16";
                csi_pixel_bit_depth = "16";
                mode_type = "yuv";
                pixel_phase = "uyvy";
                active_w = "2880";
                active_h = "1860";
                readout_orientation = "0";
                line_length = "2250";
                inherent_gain = "1";

                pix_clk_hz = "160704000";
                // MIPI CSI clock needs to be 1.5GHz to support deskew
                // MIPI CSI output data rate = 1.5Gbps = (sensor or deserializer pixel clock in hertz) * (bits per pixel) / (number of CSI lanes)
                // 1500000000 = serdes_pix_clk_hz * csi_pixel_bit_depth / num_lanes
                // => serdes_pix_clk_hz = 1500000000 * num_lanes / csi_pixel_bit_depth
                serdes_pix_clk_hz = "187500000";

                gain_factor = "5";
                min_gain_val = "0";                         /* dB */
                max_gain_val = "300";                       /* dB */
                step_gain_val = "1";                        /* 0.3 */
                default_gain = "0";
                min_hdr_ratio = "1";
                max_hdr_ratio = "1";
                framerate_factor = "1000000";
                min_framerate = "0";
                max_framerate = "40954095";
                step_framerate = "1";
                default_framerate = "0";
                exposure_factor = "1000000";
                min_exp_time = "0";                         /* us 1 line */
                max_exp_time = "40954095";
                step_exp_time = "1";
                default_exp_time = "0";                 /* us */
                embedded_metadata_height = "0";
            };

            ports {
                #address-cells = <1>;
                #size-cells = <0>;
                port@0 {
                    reg = <0>;
                    imx490_out6: endpoint {
                        vc-id = <0>;
                        port-index = <6>;
                        bus-width = <2>;
                        remote-endpoint = <&csi_in6>;
                    };
                };
            };
            gmsl-link {
                src-csi-port = "b";
                dst-csi-port = "a";
                serdes-csi-link = "a";
                csi-mode = "1x4";
                st-vc = <0>;
                vc-id = <0>;
                num-lanes = <2>;
                streams = "ued-u1","yuv8";
            };
        };
      };
    };

    /* VI settings */

    fragment@4 {
      target = <&capture_vi_base>;
      __overlay__ {
        status = "okay";
        num-channels = <8>;
      };
    };

    fragment@5 {
      target = <&vi>;
      __overlay__ {
        status = "okay";
      };
    };

    fragment@6 {
      target = <&vi_in0>;
      __overlay__ {
        status = "okay";
        vc-id = <0>;
        port-index = <0>;
        bus-width = <2>;
        remote-endpoint = <&csi_out0>;
      };
    };

    fragment@7 {
      target = <&vi_in1>;
      __overlay__ {
        status = "okay";
        vc-id = <1>;
        port-index = <0>;
        bus-width = <2>;
        remote-endpoint = <&csi_out1>;
      };
    };

    fragment@8 {
      target = <&vi_in2>;
      __overlay__ {
        status = "okay";
        vc-id = <0>;
        port-index = <2>;
        bus-width = <2>;
        remote-endpoint = <&csi_out2>;
      };
    };

    fragment@9 {
      target = <&vi_in3>;
      __overlay__ {
        status = "okay";
        vc-id = <1>;
        port-index = <2>;
        bus-width = <2>;
        remote-endpoint = <&csi_out3>;
      };
    };

    fragment@10 {
      target = <&vi_in4>;
      __overlay__ {
        status = "okay";
        vc-id = <0>;
        port-index = <4>;
        bus-width = <2>;
        remote-endpoint = <&csi_out4>;
      };
    };

    fragment@11 {
      target = <&vi_in5>;
      __overlay__ {
        status = "okay";
        vc-id = <1>;
        port-index = <4>;
        bus-width = <2>;
        remote-endpoint = <&csi_out5>;
      };
    };

    fragment@12 {
      target = <&vi_in6>;
      __overlay__ {
        status = "okay";
        vc-id = <0>;
        port-index = <5>; // For the last VI, stream_id=5
        bus-width = <2>;
        remote-endpoint = <&csi_out6>;
      };
    };

    fragment@13 {
      target = <&vi_in7>;
      __overlay__ {
        status = "okay";
        vc-id = <1>;
        port-index = <5>; // For the last VI, stream_id=5
        bus-width = <2>;
        remote-endpoint = <&csi_out7>;
      };
    };

    /* nvcsi device tree overlay settings */

    fragment@14 {
      target = <&csi_base>;
      __overlay__ {
        status = "okay";
      };
    };

    fragment@15 {
      target = <&csi_in0>;
      __overlay__ {
        status = "okay";
        port-index = <0>;
        bus-width = <2>;
        remote-endpoint = <&imx490_out0>;
      };
    };

    fragment@16 {
      target = <&csi_in1>;
      __overlay__ {
        status = "okay";
        port-index = <0>;
        bus-width = <2>;
        remote-endpoint = <&imx490_out1>;
      };
    };

    fragment@17 {
      target = <&csi_in2>;
      __overlay__ {
        status = "okay";
        port-index = <2>;
        bus-width = <2>;
        remote-endpoint = <&imx490_out2>;
      };
    };

    fragment@18 {
      target = <&csi_in3>;
      __overlay__ {
        status = "okay";
        port-index = <2>;
        bus-width = <2>;
        remote-endpoint = <&imx490_out3>;
      };
    };

    fragment@19 {
      target = <&csi_in4>;
      __overlay__ {
        status = "okay";
        port-index = <4>;
        bus-width = <2>;
        remote-endpoint = <&imx490_out4>;
      };
    };

    fragment@20 {
      target = <&csi_in5>;
      __overlay__ {
        status = "okay";
        port-index = <4>;
        bus-width = <2>;
        remote-endpoint = <&imx490_out5>;
      };
    };

    fragment@21 {
      target = <&csi_in6>;
      __overlay__ {
        status = "okay";
        port-index = <6>;
        bus-width = <2>;
        remote-endpoint = <&imx490_out6>;
      };
    };

    fragment@22 {
      target = <&csi_in7>;
      __overlay__ {
        status = "okay";
        port-index = <6>;
        bus-width = <2>;
        remote-endpoint = <&imx490_out7>;
      };
    };

    /* Tegra Camera models */

    fragment@23 {
      target = <&camera_platform_base>;
      __overlay__ {
        status = "okay";
        num_csi_lanes = <16>;
        max_lane_speed = <2500000>;
        min_bits_per_pixel = <16>;
      };
    };

    fragment@24 {
      target = <&camera_module0>;
      __overlay__ {
        status = "okay";
        badge = "imx490_rear_liimx490";
        position = "rear";
        orientation = "1";
        drivernode0 {
          status = "okay";
          pcl_id = "v4l2_sensor";
          devname = "imx490 30-002b";
          proc-device-tree = "/proc/device-tree/i2c@c240000/tca9546@70/i2c@0/imx490_a@2b";
        };
      };
    };

    fragment@25 {
      target = <&camera_module1>;
      __overlay__ {
        status = "okay";
        badge = "imx490_front_liimx490";
        position = "front";
        orientation = "1";
        drivernode0 {
          status = "okay";
          pcl_id = "v4l2_sensor";
          devname = "imx490 30-002c";
          proc-device-tree = "/proc/device-tree/i2c@c240000/tca9546@70/i2c@0/imx490_b@2c";
        };
      };
    };

    fragment@26 {
      target = <&camera_module2>;
      __overlay__ {
        status = "okay";
        badge = "imx490_topright_liimx490";
        position = "topright";
        orientation = "1";
        drivernode0 {
          status = "okay";
          pcl_id = "v4l2_sensor";
          devname = "imx490 31-002b";
          proc-device-tree = "/proc/device-tree/i2c@c240000/tca9546@70/i2c@1/imx490_c@2b";
        };
      };
    };

    fragment@27 {
      target = <&camera_module3>;
      __overlay__ {
        status = "okay";
        badge = "imx490_bottomright_liimx490";
        position = "bottomright";
        orientation = "1";
        drivernode0 {
          status = "okay";
          pcl_id = "v4l2_sensor";
          devname = "imx490 31-002c";
          proc-device-tree = "/proc/device-tree/i2c@c240000/tca9546@70/i2c@1/imx490_d@2c";
        };
      };
    };

    fragment@28 {
      target = <&camera_module4>;
      __overlay__ {
        status = "okay";
        badge = "imx490_topleft_liimx490";
        position = "topleft";
        orientation = "1";
        drivernode0 {
          status = "okay";
          pcl_id = "v4l2_sensor";
          devname = "imx490 32-002b";
          proc-device-tree = "/proc/device-tree/i2c@c240000/tca9546@70/i2c@2/imx490_e@2b";
        };
      };
    };

    fragment@29 {
      target = <&camera_module5>;
      __overlay__ {
        status = "okay";
        badge = "imx490_centerright_liimx490";
        position = "centerright";
        orientation = "1";
        drivernode0 {
          status = "okay";
          pcl_id = "v4l2_sensor";
          devname = "imx490 32-002c";
          proc-device-tree = "/proc/device-tree/i2c@c240000/tca9546@70/i2c@2/imx490_f@2c";
        };
      };
    };

    fragment@30 {
      target = <&camera_module6>;
      __overlay__ {
        status = "okay";
        badge = "imx490_centerleft_liimx490";
        position = "centerleft";
        orientation = "1";
        drivernode0 {
          status = "okay";
          pcl_id = "v4l2_sensor";
          devname = "imx490 33-002b";
          proc-device-tree = "/proc/device-tree/i2c@c240000/tca9546@70/i2c@3/imx490_g@2b";
        };
      };
    };

    fragment@31 {
      target = <&camera_module7>;
      __overlay__ {
        status = "okay";
        badge = "imx490_bottomleft_liimx490";
        position = "bottomleft";
        orientation = "1";
        drivernode0 {
          status = "okay";
          pcl_id = "v4l2_sensor";
          devname = "imx490 33-002c";
          proc-device-tree = "/proc/device-tree/i2c@c240000/tca9546@70/i2c@3/imx490_h@2c";
        };
      };
    };

/* Deserializers */

    fragment@32 {
      target = <&dser_0>;
      __overlay__ {
        status = "okay";
        compatible = "nvidia,tier4_max9296";
      };
    };

    fragment@33 {
      target = <&dser_1>;
      __overlay__ {
        status = "okay";
        compatible = "nvidia,tier4_max9296";
      };
    };

    fragment@34 {
      target = <&dser_2>;
      __overlay__ {
        status = "okay";
        compatible = "nvidia,tier4_max9296";
      };
    };

    fragment@35 {
      target = <&dser_3>;
      __overlay__ {
        status = "okay";
        compatible = "nvidia,tier4_max9296";
      };
    };

/* FPGA */

    fragment@36 {
      target-path = "/i2c@3180000";
      __overlay__ {
       t4_fpga: tier4_fpga@66 {
          compatible = "nvidia,tier4_fpga";
          reg = <0x66>;
          generate-fsync = "false";
          status = "okay";
        };
      };
    };

};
